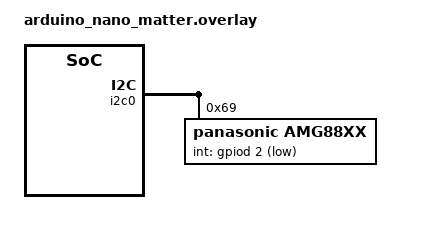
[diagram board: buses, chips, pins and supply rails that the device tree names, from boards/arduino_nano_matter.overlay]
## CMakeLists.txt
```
# SPDX-License-Identifier: Apache-2.0
#
# Zephyr RTOS: LED + Grid-EYE + BLE Demo
# Demonstrates concurrent threads, sensor subsystem, and cross-board portability.

cmake_minimum_required(VERSION 3.20.0)
find_package(Zephyr REQUIRED HINTS $ENV{ZEPHYR_BASE})
project(led_sensor_demo)

target_sources(app PRIVATE src/main.c)
```

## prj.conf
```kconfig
# Common Zephyr configuration for LED + Grid-EYE + BLE demo
# Board-specific configs are in boards/<board>.conf

# Kernel and console
CONFIG_PRINTK=y
CONFIG_CONSOLE=y
CONFIG_UART_CONSOLE=y
CONFIG_SERIAL=y

# GPIO for LEDs (used on all boards)
CONFIG_GPIO=y

# I2C for Grid-EYE AMG88xx sensor
CONFIG_I2C=y

# Sensor subsystem — the key Zephyr advantage
# One API for any sensor, hardware details in devicetree
CONFIG_SENSOR=y

# AMG88xx trigger mode: polling (default), no physical interrupt connected.
# The int-gpios in the overlay is a dummy pin — required by the binding but unused.
# CONFIG_AMG88XX_TRIGGER_NONE is the Kconfig default, stated here explicitly.
CONFIG_AMG88XX_TRIGGER_NONE=y

# BLE for temperature advertising
CONFIG_BT=y
CONFIG_BT_PERIPHERAL=y
CONFIG_BT_DEVICE_NAME="ZephyrGridEye"

# Power management — kernel auto-sleeps when all threads are in k_sleep().
# On EFR32MG24: enters EM2 deep sleep (1.3 µA) between thread wake-ups.
# On SiWx917: enters low-power idle. No code changes needed — automatic.
CONFIG_PM=y

# Enough threads for LED + sensor + BLE
CONFIG_MAIN_STACK_SIZE=2048
```

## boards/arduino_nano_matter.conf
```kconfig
# Board-specific config: Arduino Nano Matter
# This board has PWM-capable RGB LEDs (timer0 on PC1/PC2/PC3).
# Enable PWM for smooth LED breathing animation.

CONFIG_PWM=y
```

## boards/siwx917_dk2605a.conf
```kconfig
# Board-specific config: SiWx917 Dev Kit (BRD2605A)
# This board has GPIO-only LEDs — no PWM hardware exposed in DTS.
# The application automatically falls back to GPIO blink mode.

# BLE on SiWx917: requires the SiLabs-specific BT driver.
# This auto-selects SILABS_SIWX91X_NWP, ENTROPY_GENERATOR, and BT_HCI_SETUP.
# The board DTS already has bt_hci0 { status = "okay" } and zephyr,bt-hci = &bt_hci0.
CONFIG_BT_SILABS_SIWX91X=y
```

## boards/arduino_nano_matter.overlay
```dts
/*
 * Devicetree overlay for Arduino Nano Matter
 *
 * Enables I2C0 and adds the Grid-EYE AMG8833 thermal sensor.
 * I2C0 pins: SDA = PA6 (A4), SCL = PA7 (A5) — connected via Qwiic on Carrier.
 * Grid-EYE address: 0x69 (NOT the more common 0x68).
 *
 * The int-gpios property points to an unused pin (PD2 = D6).
 * We use polling mode (AMG88XX_TRIGGER_NONE in Kconfig), so the
 * interrupt line is not physically connected — but the DT binding requires it.
 */

&i2c0 {
	status = "okay";

	amg88xx: amg88xx@69 {
		compatible = "panasonic,amg88xx";
		reg = <0x69>;
		int-gpios = <&gpiod 2 GPIO_ACTIVE_LOW>;
	};
};
```

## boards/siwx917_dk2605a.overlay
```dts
/*
 * Devicetree overlay for SiWx917 Dev Kit (BRD2605A)
 *
 * Adds the Grid-EYE AMG8833 thermal sensor to the existing ULP I2C bus.
 * The SiWx917 DK already has two sensors on this bus:
 *   - VEML6035 ambient light sensor at 0x29
 *   - Si7021 humidity/temp sensor at 0x40
 * We add the Grid-EYE at 0x69 — no address conflict.
 *
 * The int-gpios property points to an unused GPIO (PA0).
 * Polling mode only — no physical interrupt connection needed.
 *
 * THIS IS THE PORTABILITY DEMO:
 * Same application code (src/main.c), different overlay file.
 * The sensor subsystem API is identical — only the I2C bus binding changes.
 */

&ulpi2c {
	amg88xx: amg88xx@69 {
		compatible = "panasonic,amg88xx";
		reg = <0x69>;
		int-gpios = <&gpioa 0 GPIO_ACTIVE_LOW>;
	};
};
```

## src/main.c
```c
/*
 * Zephyr RTOS: LED + Grid-EYE + BLE Demo (The "After")
 *
 * Three independent threads run concurrently:
 *   Thread 1 (priority 5): LED animation — PWM breathing or GPIO blink
 *   Thread 2 (priority 7): Grid-EYE sensor polling via sensor subsystem
 *   Thread 3 (priority 9): BLE advertising with max temperature
 *
 * The sensor thread reads the Grid-EYE 3 times per poll (~39ms of I2C).
 * This is the SAME workload as the Arduino demo — but here, the I2C reads
 * run on Thread 2's time slice while Thread 1 keeps animating the LED.
 * Zero stutter — the kernel scheduler handles the concurrency.
 *
 * This SAME code compiles for:
 *   west build -b arduino_nano_matter   (EFR32/MGM240S — Thread/BLE SoC)
 *   west build -b siwx917_dk2605a       (SiWx917 — Wi-Fi 6/BLE SoC)
 *
 * Hardware: Board + Grid-EYE AMG8833 via Qwiic (I2C address 0x69)
 */

#include <zephyr/kernel.h>
#include <zephyr/device.h>
#include <zephyr/devicetree.h>
#include <zephyr/drivers/sensor.h>
#include <zephyr/drivers/gpio.h>
#include <zephyr/sys/printk.h>

/* BLE headers */
#include <zephyr/bluetooth/bluetooth.h>
#include <zephyr/bluetooth/gap.h>

/* PWM header — only used if the board has PWM LEDs */
#if DT_NODE_HAS_STATUS(DT_ALIAS(pwm_led2), okay)
#include <zephyr/drivers/pwm.h>
#endif

/* ── Configuration ── */

/* Thread stack sizes */
#define LED_STACK_SIZE    1024
#define SENSOR_STACK_SIZE 2048
#define BLE_STACK_SIZE    2048

/* Thread priorities (lower number = higher priority) */
#define LED_PRIORITY    5   /* Highest: LED must never stutter */
#define SENSOR_PRIORITY 7   /* Medium: sensor polling */
#define BLE_PRIORITY    9   /* Lowest: BLE advertising */

/* Timing intervals */
#define LED_TICK_MS     10   /* 100 Hz LED update rate */
#define SENSOR_POLL_MS  100  /* 10 Hz sensor polling (same rate as Arduino) */
#define BLE_UPDATE_MS   1000 /* 1 Hz BLE data update */

/* ── Shared State ── */

/* Mutex protects max_temp from concurrent access */
static struct k_mutex temp_mutex;

/* Latest max temperature from Grid-EYE (shared between sensor + BLE threads) */
static float max_temp;

/* Flag: sensor has provided at least one reading */
static bool sensor_ready;

/* ── LED Thread ── */

/*
 * Board-adaptive LED control:
 * - Arduino Nano Matter has PWM LEDs (smooth breathing animation)
 * - SiWx917 DK has GPIO-only LEDs (blink pattern)
 * The code adapts at compile time using devicetree macros.
 */
#if DT_NODE_HAS_STATUS(DT_ALIAS(pwm_led2), okay)
/* PWM LED available — smooth breathing */
static const struct pwm_dt_spec blue_pwm_led =
	PWM_DT_SPEC_GET(DT_ALIAS(pwm_led2));
#define HAS_PWM_LED 1
#else
/* GPIO fallback — simple blink */
static const struct gpio_dt_spec led0_gpio =
	GPIO_DT_SPEC_GET(DT_ALIAS(led0), gpios);
#define HAS_PWM_LED 0
#endif

/*
 * LED animation thread.
 * Runs every LED_TICK_MS (10ms) = 100Hz update rate.
 * The kernel scheduler ensures this thread is never starved by sensor I/O.
 */
static void led_thread_fn(void *p1, void *p2, void *p3)
{
	ARG_UNUSED(p1);
	ARG_UNUSED(p2);
	ARG_UNUSED(p3);

	printk("[LED] Thread started (priority %d, tick %d ms)\n",
	       LED_PRIORITY, LED_TICK_MS);

#if HAS_PWM_LED
	/* PWM breathing: ramp brightness up and down smoothly */
	if (!pwm_is_ready_dt(&blue_pwm_led)) {
		printk("[LED] ERROR: PWM device not ready\n");
		return;
	}
	printk("[LED] PWM mode — smooth breathing on blue LED\n");

	uint32_t period = blue_pwm_led.period;
	uint32_t pulse = 0;
	int32_t step = period / 128; /* 128 brightness steps per ramp */

	while (1) {
		uint32_t tick_start = k_uptime_get_32();

		/* Set PWM duty cycle (pulse width controls brightness) */
		pwm_set_pulse_dt(&blue_pwm_led, pulse);

		/*
		 * Advance brightness using int64_t to avoid unsigned wrap.
		 * Without this, pulse (uint32_t) + step (negative int32_t) can
		 * underflow to a huge value before the boundary check catches it.
		 */
		int64_t next_pulse = (int64_t)pulse + step;
		if (next_pulse >= (int64_t)period) {
			next_pulse = period;
			step = -step;
		} else if (next_pulse <= 0) {
			next_pulse = 0;
			step = -step;
		}
		pulse = (uint32_t)next_pulse;

		/* Log timing every 500 ticks (~5 seconds) to prove consistency */
		static int tick_count;
		tick_count++;
		if (tick_count % 500 == 0) {
			uint32_t elapsed = k_uptime_get_32() - tick_start;
			printk("[LED] tick #%d: %u ms (target: <%d ms)\n",
			       tick_count, elapsed, LED_TICK_MS);
		}

		k_sleep(K_MSEC(LED_TICK_MS));
	}
#else
	/* GPIO blink fallback for boards without PWM */
	if (!gpio_is_ready_dt(&led0_gpio)) {
		printk("[LED] ERROR: GPIO device not ready\n");
		return;
	}
	gpio_pin_configure_dt(&led0_gpio, GPIO_OUTPUT_ACTIVE);
	printk("[LED] GPIO mode — blink pattern on LED0\n");

	while (1) {
		gpio_pin_toggle_dt(&led0_gpio);
		k_sleep(K_MSEC(LED_TICK_MS * 25)); /* 250ms blink for visibility */
	}
#endif
}

/* ── Sensor Thread ── */

/*
 * Sensor polling thread.
 * Uses Zephyr sensor subsystem: sensor_sample_fetch() + sensor_channel_get().
 * The AMG88xx driver is configured via devicetree overlay — no hardcoded addresses.
 * This I2C read blocks THIS thread for ~8ms, but the LED thread keeps running.
 */
static void sensor_thread_fn(void *p1, void *p2, void *p3)
{
	ARG_UNUSED(p1);
	ARG_UNUSED(p2);
	ARG_UNUSED(p3);

	printk("[SENSOR] Thread started (priority %d, poll %d ms)\n",
	       SENSOR_PRIORITY, SENSOR_POLL_MS);

	/* Get AMG88xx device from devicetree — no hardcoded I2C address */
	const struct device *amg = DEVICE_DT_GET_ONE(panasonic_amg88xx);

	if (!device_is_ready(amg)) {
		printk("[SENSOR] ERROR: AMG88xx device not ready\n");
		return;
	}
	printk("[SENSOR] AMG88xx initialized via devicetree\n");

	/* 64 temperature values — one per pixel in the 8×8 grid */
	struct sensor_value temps[64];

	while (1) {
		uint32_t read_start = k_uptime_get_32();

		/*
		 * Fetch all 64 pixel temperatures from the sensor.
		 * Read 3 times — same I2C workload as the Arduino demo.
		 * Despite 3 × 13ms = ~39ms of I2C blocking on THIS thread,
		 * the LED thread keeps breathing smoothly. That's the point.
		 */
		int ret = 0;

		for (int r = 0; r < 3; r++) {
			ret = sensor_sample_fetch(amg);
			if (ret) {
				printk("[SENSOR] Fetch error on read %d: %d\n",
				       r, ret);
				break;
			}
		}

		if (ret) {
			k_sleep(K_MSEC(SENSOR_POLL_MS));
			continue;
		}

		/* Convert raw data to sensor_value structs (uses last fetch) */
		ret = sensor_channel_get(amg, SENSOR_CHAN_AMBIENT_TEMP, temps);
		if (ret) {
			printk("[SENSOR] Channel get error: %d\n", ret);
			k_sleep(K_MSEC(SENSOR_POLL_MS));
			continue;
		}

		/* Find hottest pixel across all 64 */
		float local_max = (float)temps[0].val1 +
				  (float)temps[0].val2 / 1000000.0f;
		for (int i = 1; i < 64; i++) {
			float t = (float)temps[i].val1 +
				  (float)temps[i].val2 / 1000000.0f;
			if (t > local_max) {
				local_max = t;
			}
		}

		/* Update shared state — mutex protects from BLE thread */
		k_mutex_lock(&temp_mutex, K_FOREVER);
		max_temp = local_max;
		sensor_ready = true;
		k_mutex_unlock(&temp_mutex);

		uint32_t read_elapsed = k_uptime_get_32() - read_start;
		/* Print integer and fractional parts separately (no float printf) */
		int temp_int = (int)local_max;
		int temp_frac = (int)((local_max - temp_int) * 100);
		if (temp_frac < 0) {
			temp_frac = -temp_frac;
		}
		printk("[SENSOR] 3x read took %u ms | Max: %d.%02d C\n",
		       read_elapsed, temp_int, temp_frac);

		k_sleep(K_MSEC(SENSOR_POLL_MS));
	}
}

/* ── BLE Thread ── */

/*
 * BLE advertising thread.
 * Broadcasts the latest max temperature as manufacturer-specific data.
 * Any BLE scanner (Simplicity Connect, nRF Connect) can see "ZephyrGridEye"
 * and read the temperature from the manufacturer data field.
 */

/* Manufacturer data: company ID (0xFFFF = test) + temperature × 100 */
static uint8_t mfg_data[] = {
	0xFF, 0xFF,  /* Company ID: 0xFFFF (reserved for testing) */
	0x00, 0x00,  /* Temperature × 100, big-endian int16 */
};

/* Advertising data array — updated in-place when temperature changes */
static const struct bt_data ad[] = {
	BT_DATA_BYTES(BT_DATA_FLAGS,
		      (BT_LE_AD_GENERAL | BT_LE_AD_NO_BREDR)),
	BT_DATA(BT_DATA_MANUFACTURER_DATA, mfg_data, sizeof(mfg_data)),
};

/* Scan response with device name */
static const struct bt_data sd[] = {
	BT_DATA(BT_DATA_NAME_COMPLETE, "ZephyrGridEye",
		sizeof("ZephyrGridEye") - 1),
};

static void ble_thread_fn(void *p1, void *p2, void *p3)
{
	ARG_UNUSED(p1);
	ARG_UNUSED(p2);
	ARG_UNUSED(p3);

	printk("[BLE] Thread started (priority %d, update %d ms)\n",
	       BLE_PRIORITY, BLE_UPDATE_MS);

	/* Initialize Bluetooth subsystem */
	int err = bt_enable(NULL);

	if (err) {
		printk("[BLE] Bluetooth init failed (err %d)\n", err);
		return;
	}
	printk("[BLE] Bluetooth initialized\n");

	/* Start advertising — non-connectable, just broadcasting data */
	err = bt_le_adv_start(BT_LE_ADV_NCONN, ad, ARRAY_SIZE(ad),
			      sd, ARRAY_SIZE(sd));
	if (err) {
		printk("[BLE] Advertising start failed (err %d)\n", err);
		return;
	}
	printk("[BLE] Advertising as 'ZephyrGridEye'\n");

	while (1) {
		/* Read latest temperature from shared state */
		float temp;
		bool ready;

		k_mutex_lock(&temp_mutex, K_FOREVER);
		ready = sensor_ready;
		temp = max_temp;

		/*
		 * Encode temperature × 100 as big-endian int16 INSIDE the mutex.
		 * mfg_data[] is referenced by the BT stack via the ad[] pointer —
		 * the two-byte write must be atomic w.r.t. bt_le_adv_update_data()
		 * to avoid a torn read (one byte old, one byte new).
		 */
		int16_t temp_x100 = (int16_t)(temp * 100);
		mfg_data[2] = (uint8_t)(temp_x100 >> 8);
		mfg_data[3] = (uint8_t)(temp_x100 & 0xFF);
		k_mutex_unlock(&temp_mutex);

		/* Wait for first valid sensor reading before advertising */
		if (!ready) {
			printk("[BLE] Waiting for first sensor reading...\n");
			k_sleep(K_MSEC(BLE_UPDATE_MS));
			continue;
		}

		/* Update advertising data with new temperature */
		err = bt_le_adv_update_data(ad, ARRAY_SIZE(ad),
					    sd, ARRAY_SIZE(sd));
		if (err) {
			printk("[BLE] Adv data update error: %d\n", err);
		}

		int temp_int = (int)temp;
		int temp_frac = (int)((temp - temp_int) * 100);
		if (temp_frac < 0) {
			temp_frac = -temp_frac;
		}
		printk("[BLE] Broadcasting temp: %d.%02d C\n",
		       temp_int, temp_frac);

		k_sleep(K_MSEC(BLE_UPDATE_MS));
	}
}

/* ── Thread Definitions ── */

/*
 * K_THREAD_DEFINE creates threads at compile time.
 * They start automatically when the kernel boots — no manual thread_create().
 * Each thread has its own stack, priority, and entry function.
 */
K_THREAD_DEFINE(led_tid, LED_STACK_SIZE,
		led_thread_fn, NULL, NULL, NULL,
		LED_PRIORITY, 0, 0);

K_THREAD_DEFINE(sensor_tid, SENSOR_STACK_SIZE,
		sensor_thread_fn, NULL, NULL, NULL,
		SENSOR_PRIORITY, 0, 0);

K_THREAD_DEFINE(ble_tid, BLE_STACK_SIZE,
		ble_thread_fn, NULL, NULL, NULL,
		BLE_PRIORITY, 0, 0);

/* ── Main ── */

int main(void)
{
	/* Initialize the temperature mutex */
	k_mutex_init(&temp_mutex);

	printk("\n");
	printk("=============================================\n");
	printk("  Zephyr LED + Grid-EYE + BLE Demo\n");
	printk("=============================================\n");
	printk("Board: %s\n", CONFIG_BOARD);
	printk("Threads:\n");
	printk("  LED    (priority %d) — %s\n", LED_PRIORITY,
	       HAS_PWM_LED ? "PWM breathing" : "GPIO blink");
	printk("  Sensor (priority %d) — Grid-EYE 3x read every %d ms\n",
	       SENSOR_PRIORITY, SENSOR_POLL_MS);
	printk("  BLE    (priority %d) — advertise every %d ms\n",
	       BLE_PRIORITY, BLE_UPDATE_MS);
	printk("=============================================\n\n");

	/* Threads are auto-started by K_THREAD_DEFINE — main can return */
	return 0;
}
```
